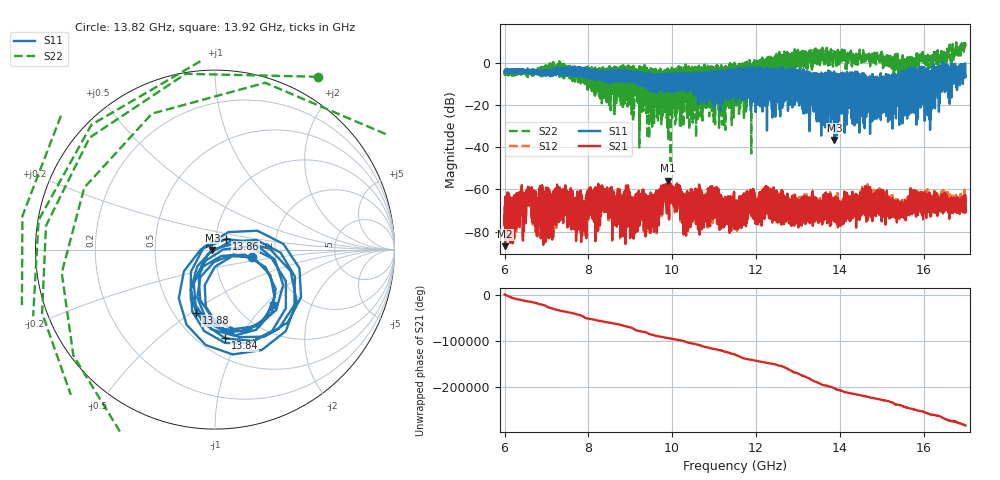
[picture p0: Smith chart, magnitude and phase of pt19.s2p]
#  HZ  S  RI  R  50.00
! Rohde & Schwarz Vector Network Analyzer
! Rohde-Schwarz,ZNA67-2Port,1332450062101215,3.01
! Created: UTC 10/26/2026, 5:45:02 PM
! freq[Hz]  re:S11  im:S11  re:S21  im:S21  re:S12  im:S12  re:S22  im:S22
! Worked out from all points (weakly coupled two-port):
!   11001 points, 6 GHz to 17 GHz, reference 50 ohm
!   highest |S21| = -55.93 dB at 9.908 GHz (marker M1); lowest = -86.9 dB at 6.013 GHz (marker M2)
!   lowest |S11| = -36.6 dB at 13.87 GHz (marker M3), VSWR 1.03, Z = 48.6 - j0.14 ohm
!   |S11| at or under -10 dB: 14.90775 GHz to 14.91479 GHz (7.049 MHz wide, 0.0473 % of centre); 14.91863 GHz to 14.92671 GHz (8.085 MHz wide, 0.0542 % of centre); 14.92829 GHz to 14.93583 GHz (7.533 MHz wide, 0.0504 % of centre) (the widest 3 of 638)
!   |S22| runs from -46.7 to 10.5 dB; largest |S21 - S12| = 0.0012
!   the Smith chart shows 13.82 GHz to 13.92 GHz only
!   S11 on the Smith chart (normalised r, x): 13.82 GHz: 1.51, -0.13; 13.84 GHz: 0.66, -0.87; 13.86 GHz: 1.13, +0.13; 13.88 GHz: 0.64, -0.52; 13.92 GHz: 1.46, -1.12
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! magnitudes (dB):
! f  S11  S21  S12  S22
! 6 GHz  -4.4  -68.1  -68.3  -4.5
! 6.013 GHz  -4.5  -86.9  -82.7  -4.6
! 6.571 GHz  -4.1  -61.4  -61.4  -4.5
! 6.76 GHz  -4.4  -71.5  -71.9  -3.5
! 7.834 GHz  -4.1  -67.9  -67.5  -2.9
! 8.288 GHz  -6.3  -66.1  -65.9  -5.5
! 9.061 GHz  -4.9  -65.2  -65.2  -2.5
! 9.667 GHz  -6.7  -66.4  -66.7  -4.8
! 9.908 GHz  -12.6  -55.9  -56.2  -9.4
! 11.5 GHz  -3.2  -74.6  -72.4  -3.3
! 12.26 GHz  -16.5  -61.7  -61.7  0.1
! 12.83 GHz  -4.3  -75.8  -69.5  1.9
! 13.33 GHz  -7.4  -68.9  -70.7  -0.6
! 13.82 GHz  -13.6  -71.1  -70.1  1.0
! 13.84 GHz  -6.1  -71.5  -69.4  2.4
! 13.86 GHz  -21.2  -66.9  -69.0  2.7
! 13.87 GHz  -36.6  -69.3  -68.4  1.7
! 13.88 GHz  -8.7  -73.0  -70.5  3.0
! 13.92 GHz  -7.0  -67.6  -66.8  2.5
! 14.58 GHz  -9.8  -63.6  -62.7  2.1
! 15.17 GHz  -21.9  -63.3  -64.5  1.3
! 17 GHz  -6.1  -68.9  -70.4  8.3
